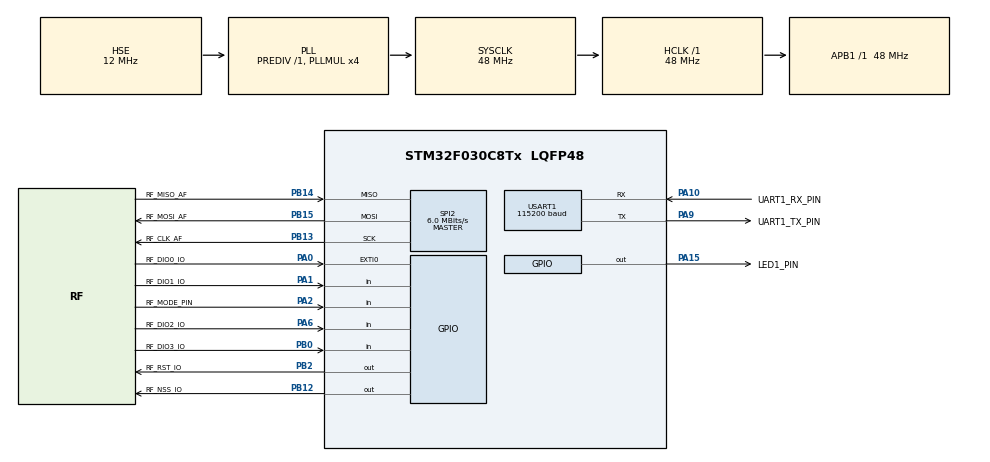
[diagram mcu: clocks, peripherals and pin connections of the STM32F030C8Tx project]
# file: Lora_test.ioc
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Mcu.Family=STM32F0
Mcu.Name=STM32F030C8Tx
Mcu.Package=LQFP48
NVIC.EXTI0_1_IRQn=true\:0\:0\:false\:true\:true\:1\:true\:true\:true
PA0.GPIO_Label=RF_DIO0_IO
PA0.GPIO_ModeDefaultEXTI=GPIO_MODE_IT_RISING
PA0.GPIO_PuPd=GPIO_PULLUP
PA0.Signal=GPXTI0
PA1.GPIO_Label=RF_DIO1_IO
PA1.GPIO_PuPd=GPIO_PULLUP
PA1.Signal=GPIO_Input
PA10.GPIO_Label=UART1_RX_PIN
PA10.GPIO_PuPd=GPIO_PULLUP
PA10.GPIO_Speed=GPIO_SPEED_FREQ_MEDIUM
PA10.Mode=Asynchronous
PA10.Signal=USART1_RX
PA13.GPIO_Label=SWDIO_PIN
PA13.Mode=Serial_Wire
PA13.Signal=SYS_SWDIO
PA14.Mode=Serial_Wire
PA14.Signal=SYS_SWCLK
PA15.GPIO_Label=LED1_PIN
PA15.GPIO_PuPd=GPIO_PULLUP
PA15.GPIO_Speed=GPIO_SPEED_FREQ_MEDIUM
PA15.PinState=GPIO_PIN_SET
PA15.Signal=GPIO_Output
PA2.GPIO_Label=RF_MODE_PIN
PA2.GPIO_PuPd=GPIO_PULLDOWN
PA2.Signal=GPIO_Input
PA6.GPIO_Label=RF_DIO2_IO
PA6.GPIO_PuPd=GPIO_PULLUP
PA6.Signal=GPIO_Input
PA9.GPIO_Label=UART1_TX_PIN
PA9.GPIO_PuPd=GPIO_NOPULL
PA9.GPIO_Speed=GPIO_SPEED_FREQ_MEDIUM
PA9.Mode=Asynchronous
PA9.Signal=USART1_TX
PB0.GPIO_Label=RF_DIO3_IO
PB0.GPIO_PuPd=GPIO_PULLUP
PB0.Signal=GPIO_Input
PB12.GPIO_Label=RF_NSS_IO
PB12.GPIO_ModeDefaultOutputPP=GPIO_MODE_OUTPUT_PP
PB12.GPIO_PuPd=GPIO_PULLUP
PB12.GPIO_Speed=GPIO_SPEED_FREQ_HIGH
PB12.PinState=GPIO_PIN_SET
PB12.Signal=GPIO_Output
PB13.GPIO_Label=RF_CLK_AF
PB13.GPIO_PuPd=GPIO_PULLUP
PB13.Mode=Full_Duplex_Master
PB13.Signal=SPI2_SCK
PB14.GPIO_Label=RF_MISO_AF
PB14.GPIO_PuPd=GPIO_PULLUP
PB14.Mode=Full_Duplex_Master
PB14.Signal=SPI2_MISO
PB15.GPIO_Label=RF_MOSI_AF
PB15.GPIO_PuPd=GPIO_PULLUP
PB15.Mode=Full_Duplex_Master
PB15.Signal=SPI2_MOSI
PB2.GPIO_Label=RF_RST_IO
PB2.GPIO_ModeDefaultOutputPP=GPIO_MODE_OUTPUT_PP
PB2.GPIO_PuPd=GPIO_PULLUP
PB2.GPIO_Speed=GPIO_SPEED_FREQ_MEDIUM
PB2.PinState=GPIO_PIN_SET
PB2.Signal=GPIO_Output
PF0-OSC_IN.Mode=HSE-External-Oscillator
PF0-OSC_IN.Signal=RCC_OSC_IN
PF1-OSC_OUT.Mode=HSE-External-Oscillator
PF1-OSC_OUT.Signal=RCC_OSC_OUT
ProjectManager.HeapSize=0x200
ProjectManager.StackSize=0x400
ProjectManager.TargetToolchain=CMake
RCC.AHBFreq_Value=48000000
RCC.APB1Freq_Value=48000000
RCC.APB1TimFreq_Value=48000000
RCC.HCLKFreq_Value=48000000
RCC.HSE_VALUE=12000000
RCC.PLLMUL=RCC_PLL_MUL4
RCC.PLLSourceVirtual=RCC_PLLSOURCE_HSE
RCC.SYSCLKFreq_VALUE=48000000
RCC.SYSCLKSource=RCC_SYSCLKSOURCE_PLLCLK
RCC.TimSys_Div=SYSTICK_CLKSOURCE_HCLK_DIV8
SPI2.BaudRatePrescaler=SPI_BAUDRATEPRESCALER_8
SPI2.CRCCalculation=SPI_CRCCALCULATION_ENABLE
SPI2.CalculateBaudRate=6.0 MBits/s
SPI2.DataSize=SPI_DATASIZE_8BIT
SPI2.Direction=SPI_DIRECTION_2LINES
SPI2.Mode=SPI_MODE_MASTER
SPI2.VirtualType=VM_MASTER
USART1.BaudRate=115200
USART1.VirtualMode-Asynchronous=VM_ASYNC
board=custom

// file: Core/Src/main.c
/* USER CODE BEGIN Header */
/**
 ******************************************************************************
 * @file           : main.c
 * @brief          : Main program body
 ******************************************************************************
 * @attention
 *
 * Copyright (c) 2025 STMicroelectronics.
 * All rights reserved.
 *
 * This software is licensed under terms that can be found in the LICENSE file
 * in the root directory of this software component.
 * If no LICENSE file comes with this software, it is provided AS-IS.
 *
 ******************************************************************************
 */
/* USER CODE END Header */
#include "main.h"
#include "dma.h"
#include "spi.h"
#include "usart.h"
#include "gpio.h"

/* USER CODE BEGIN Includes */
#include "Sx1276-1278.h"
#include "delay.h"
#include "user.h"

#include "sx1276-LoRa.h"

#include "uart_dma_queue.h" // 添加UART DMA队列头文件
/* USER CODE END Includes */

/* USER CODE BEGIN PV */
/**************************************************************************************************************************************
Demo 程序流程  EnableMaster=true  为主机端，主机端发�?�一�??"PING"数据后切换到接收，等待从机返回的应答"PONG"数据LED闪烁

               EnableMaster=false 为从机端，从机端接收到主机端发过来的"PING"数据后LED闪烁并发送一�??"PONG"数据作为应答
***************************************************************************************************************************************/

// 提示: FSK与LORA模式切换只需要�?�过radio.h 文件中的宏定义修�??   #define LORA       1// [0: OFF, 1: ON] 1：LORA模式 0:FSK模式

// #define EnableMaster GPIO_ReadInputDataBit(RF_MODE_PORT, RF_MODE_PIN) // 主从选择�??
#define EnableMaster HAL_GPIO_ReadPin(RF_MODE_PIN_GPIO_Port, RF_MODE_PIN_Pin) // 读取主从选择脚状�??

tRadioDriver *Radio = 0;
const uint8_t PingMsg[] = "PING123456"; // 主机端发送的PING数据包内容
const uint8_t PongMsg[] = "PONG123456"; // 从机端发送的PONG数据包内容
uint16_t num_rx = 0;
uint8_t RXBuffer[RF_BUFFER_SIZE]; // RX buffer
uint8_t TXBuffer[RF_BUFFER_SIZE]; // TX buffer
uint16_t crc_value;

uint16_t masterSendTime = 2;  // 主机端发送数据包的次数
uint16_t masterSendCount = 0; // 从机端发送数据包的计数

uint8_t temParameter = 0x00; // 用于暂存带修改的参数

static uint8_t last_rx_data[3][256];  // 存储最近3次接收的数据
static uint16_t last_rx_len[3] = {0}; // 存储最近3次接收数据的长度
static uint8_t rx_count = 0;          // 接收计数器

extern tLoRaSettings LoRaSettings; // 声明为外部变量
/* USER CODE END PV */

void SystemClock_Config(void);
static void MX_NVIC_Init(void);
/* USER CODE BEGIN PFP */
// 检查连续3次接收数据是否都不同的函数
static bool check_three_different_rx(uint8_t *current_data, uint16_t current_len)
{
  if (rx_count < 3)
  {
    return false; // 还没有收到3次数据
  }

  // 检查当前数据与前3次数据是否都不同
  for (int i = 0; i < 3; i++)
  {
    if (current_len == last_rx_len[i] &&
        memcmp(current_data, last_rx_data[i], current_len) == 0)
    {
      return false; // 发现相同数据
    }
  }
  return true; // 都不同
}

// 更新接收数据历史记录
static void update_rx_history(uint8_t *data, uint16_t len)
{
  static uint8_t history_index = 0;

  // 复制数据到历史记录
  memcpy(last_rx_data[history_index], data, len);
  last_rx_len[history_index] = len;

  // 更新索引（循环使用）
  history_index = (history_index + 1) % 3;

  // 增加计数（最大为3）
  if (rx_count < 3)
  {
    rx_count++;
  }
}
/* USER CODE END PFP */

/* USER CODE BEGIN 0 */
void LedToggle(void)
{
  // GPIO_WriteBit(LED1_PORT, LED1_PIN, Bit_RESET); // LED闪烁
  HAL_GPIO_WritePin(LED1_PIN_GPIO_Port, LED1_PIN_Pin, GPIO_PIN_RESET);
  // HAL_Delay_nMs(1000);
  HAL_Delay_nMs(10);
  // GPIO_WriteBit(LED1_PORT, LED1_PIN, Bit_SET);
  HAL_GPIO_WritePin(LED1_PIN_GPIO_Port, LED1_PIN_Pin, GPIO_PIN_SET);
}

/*
 * Manages the master operation
 */
void OnMaster(void)
{
  switch (Radio->Process())
  {
  case RF_TX_DONE:

    Radio->StartRx();
    break;

  case RF_RX_DONE:
    Radio->GetRxPacket(RXBuffer, (uint16_t *)&num_rx);

    if (num_rx > 0)
    {
      // HAL_UART_Transmit(&huart1, RXBuffer, num_rx, HAL_MAX_DELAY);
      HAL_UART_Transmit_DMA(&huart1, RXBuffer, num_rx); // 使用DMA发送数据包
      // crc_value = RXBuffer[num_rx - 2];
      // crc_value <<= 8;
      // crc_value |= RXBuffer[num_rx - 1];
      // if (crc_value == RadioComputeCRC(RXBuffer, num_rx - 2, CRC_TYPE_IBM)) // CRC check
      // {
      // if (strncmp((const char *)RXBuffer, (const char *)PongMsg, strlen((const char *)PongMsg)) == 0)
      // {
      LedToggle(); // LED闪烁

      // Send the next PING frame
      strncpy((char *)TXBuffer, PingMsg, sizeof(TXBuffer));

      // crc_value = RadioComputeCRC(TXBuffer, 4, CRC_TYPE_IBM); // 计算得出要发送数据包CRC值
      // TXBuffer[4] = crc_value >> 8;
      // TXBuffer[5] = crc_value;

      // if ((masterSendCount < masterSendTime))
      // {
      /* code */
      Radio->SetTxPacket(TXBuffer, strlen((const char *)TXBuffer)); // 使用字符串长度作为数据包长度
      //   masterSendCount++;
      // }

      // }
      // }
    }
    break;

  case RF_RX_TIMEOUT:
    // Send the next PING frame
    strncpy((char *)TXBuffer, PingMsg, sizeof(TXBuffer)); // 确保TXBuffer正确初始化

    // crc_value = RadioComputeCRC(TXBuffer, 4, CRC_TYPE_IBM); // 计算得出要发送数据包CRC值
    // TXBuffer[4] = crc_value >> 8;
    // TXBuffer[5] = crc_value;

    // if ((masterSendCount < masterSendTime))
    // {
    /* code */
    Radio->SetTxPacket(TXBuffer, strlen((const char *)TXBuffer));
    //   masterSendCount++;
    // }
    break;

  default:
    break;
  }
}

/*
 * Manages the slave operation
 */
void OnSlave(void)
{
  switch (Radio->Process())
  {
  case RF_IDLE:
    // 进入载波侦听模式
    HAL_UART_Transmit_DMA(&huart1, (uint8_t *)"\r\nRF_IDLE\r\n", 12); // 调试输出
    Radio->EnterCadMode();                                            // 进入载波侦听模式
    break;
  case RF_BUSY:

    break;

  case RF_CHANNEL_ACTIVITY_DETECTED:
    HAL_UART_Transmit_DMA(&huart1, (uint8_t *)"\r\nRF_CHANNEL_ACTIVITY_DETECTED\r\n", 34); // 调试输出
    // 进入接收模式
    Radio->StartRx();
    break;
  case RF_CHANNEL_EMPTY:
    HAL_UART_Transmit_DMA(&huart1, (uint8_t *)"\r\nRF_CHANNEL_EMPTY\r\n", 22); // 调试输出
    // LoRaSettings.SyncWordValue++;         // 增加同步字参数
    // Radio->parameterChange(temParameter); // 重新设置同步字
    Radio->EnterCadMode(); // 进入载波侦听模式
    break;

  case RF_RX_DONE:

    Radio->GetRxPacket(RXBuffer, (uint16_t *)&num_rx);

    if (num_rx > 0)
    {

      // 检查是否连续3次接收到不同数据
      // if (check_three_different_rx(RXBuffer, num_rx))
      // {

      //   LoRaSettings.SyncWordValue++; // 增加同步字参数
      //   Radio->parameterChange(0x10); // 重新设置同步字
      // }

      // 更新接收历史记录
      // update_rx_history(RXBuffer, num_rx);

      // HAL_UART_Transmit(&huart1, RXBuffer, num_rx, HAL_MAX_DELAY);
      // HAL_UART_Transmit_DMA(&huart1, RXBuffer, num_rx);                 // 使用DMA发送数据包
      // 在RXBuffer末尾添加换行符和字符串结束符
      RXBuffer[num_rx] = '\n';     // 添加换行符
      RXBuffer[num_rx + 1] = '\0'; // 添加字符串结束符，确保安全
      UART_TxQueue_Enqueue(RXBuffer, num_rx + 1);
      // HAL_UART_Transmit_DMA(&huart1, (uint8_t *)"RECIVED INF\r\n", 14); // 调试输出
      UART_TxQueue_Enqueue((uint8_t *)"RECIVED INF\r", 13); // 将调试信息放入队列中
      // crc_value = RXBuffer[num_rx - 2];
      // crc_value <<= 8;
      // crc_value |= RXBuffer[num_rx - 1];
      // if (crc_value == RadioComputeCRC(RXBuffer, num_rx - 2, CRC_TYPE_IBM)) // CRC check
      // {
      // if (strncmp((const char *)RXBuffer, (const char *)PingMsg, strlen((const char *)PingMsg)) == 0)
      // {
      LedToggle(); // LED闪烁

      // Ack with PONG frame
      // strncpy((char *)TXBuffer, PongMsg, sizeof(TXBuffer));

      // crc_value = RadioComputeCRC(TXBuffer, 4, CRC_TYPE_IBM); // 计算得出要发送数据包CRC值
      // TXBuffer[4] = crc_value >> 8;
      // TXBuffer[5] = crc_value;

      // Radio->SetTxPacket(TXBuffer, strlen((const char *)TXBuffer));
      // }
      // }
    }
    else
    {
      // No data received,changed syncWord start RX again
      // if (temParameter == 0xff)
      // {
      //   temParameter = 0x00; // 设置一个新的同步字
      // }
      // else
      // {
      //   temParameter++; // 恢复为默认同步字
      // }
      // Radio->parameterChange(temParameter); // 重新设置同步字
      // Radio->EnterCadMode(); // 进入载波侦听模式
    }
    // HAL_UART_Transmit_DMA(&huart1, (uint8_t *)"RF_RX_DONE\r", 13); // 调试输出
    UART_TxQueue_Enqueue((uint8_t *)"RF_RX_DONE\r", 12); // 将调试信息放入队列中
    break;

  case RF_RX_TIMEOUT:
    // HAL_UART_Transmit_DMA(&huart1, (uint8_t *)"RF_RX_TIMEOUT\r", 16); // 调试输出
    UART_TxQueue_Enqueue((uint8_t *)"RF_RX_TIMEOUT\r", 15); // 将调试信息放入队列中
    // 重新进入接收模式
    Radio->StartRx();
    // 改变同步字
    // LoRaSettings.SyncWordValue++;         // 增加同步字参数
    // Radio->parameterChange(temParameter); // 重新设置同步字
    // Radio->EnterCadMode(); // 进入载波侦听模式

    break;

  default:
    break;
  }
}
/* USER CODE END 0 */

int main(void)
{

  /* MCU Configuration--------------------------------------------------------*/

  /* Reset of all peripherals, Initializes the Flash interface and the Systick. */
  HAL_Init();

  /* Configure the system clock */
  SystemClock_Config();

  /* Initialize all configured peripherals */
  MX_GPIO_Init();
  MX_DMA_Init();
  MX_USART1_UART_Init();
  if (UART_TxQueue_Init() != 0)
  {
    // 处理初始化失败
    while (1)
      ;
  }
  MX_SPI2_Init();
  MX_NVIC_Init(); // NVIC配置

  /* USER CODE BEGIN 2 */
  Radio = RadioDriverInit();
  if (Radio != NULL)
  {
    Radio->Init();
    // RFLRState = RFLR_STATE_IDLE; // LoRa状态机初始化为IDLE状态
  }
  else
  {
    // Handle null pointer error, e.g., log or halt execution
    // printf("Radio driver initialization failed!\n");
    while (1)
      ; // Infinite loop to indicate error
  }

  if (EnableMaster)
  {
    // Correctly initialize the TXBuffer with "PING_TEST1"
    strncpy((char *)TXBuffer, "PING123456", sizeof(TXBuffer)); // TXBuffer初始化

    Radio->SetTxPacket(TXBuffer, strlen((const char *)TXBuffer)); // 使用字符串长度作为数据包长度
    // masterSendCount++;
  }
  else
  {
    Radio->EnterCadMode(); // 进入载波侦听模式

    // Radio->StartRx();
  }
  /* USER CODE END 2 */

  /* Infinite loop */
  /* USER CODE BEGIN WHILE */
  while (1)
  {

    if (EnableMaster)
    {
      // HAL_UART_Transmit_DMA(&huart1, (uint8_t *)"Enter Master Mode\r\n", 20); // 主机端模式提示
      OnMaster();
    }
    else
    {

      OnSlave();
    }
    /* USER CODE END WHILE */

  }
}

void SystemClock_Config(void)
{
  RCC_OscInitTypeDef RCC_OscInitStruct = {0};
  RCC_ClkInitTypeDef RCC_ClkInitStruct = {0};
  RCC_PeriphCLKInitTypeDef PeriphClkInit = {0};

  /** Initializes the RCC Oscillators according to the specified parameters
   * in the RCC_OscInitTypeDef structure.
   */
  RCC_OscInitStruct.OscillatorType = RCC_OSCILLATORTYPE_HSE;
  RCC_OscInitStruct.HSEState = RCC_HSE_ON;
  RCC_OscInitStruct.PLL.PLLState = RCC_PLL_ON;
  RCC_OscInitStruct.PLL.PLLSource = RCC_PLLSOURCE_HSE;
  RCC_OscInitStruct.PLL.PLLMUL = RCC_PLL_MUL4;
  RCC_OscInitStruct.PLL.PREDIV = RCC_PREDIV_DIV1;
  if (HAL_RCC_OscConfig(&RCC_OscInitStruct) != HAL_OK)
  {
    Error_Handler();
  }

  /** Initializes the CPU, AHB and APB buses clocks
   */
  RCC_ClkInitStruct.ClockType = RCC_CLOCKTYPE_HCLK | RCC_CLOCKTYPE_SYSCLK | RCC_CLOCKTYPE_PCLK1;
  RCC_ClkInitStruct.SYSCLKSource = RCC_SYSCLKSOURCE_PLLCLK;
  RCC_ClkInitStruct.AHBCLKDivider = RCC_SYSCLK_DIV1;
  RCC_ClkInitStruct.APB1CLKDivider = RCC_HCLK_DIV1;

  if (HAL_RCC_ClockConfig(&RCC_ClkInitStruct, FLASH_LATENCY_1) != HAL_OK)
  {
    Error_Handler();
  }
  PeriphClkInit.PeriphClockSelection = RCC_PERIPHCLK_USART1;
  PeriphClkInit.Usart1ClockSelection = RCC_USART1CLKSOURCE_PCLK1;
  if (HAL_RCCEx_PeriphCLKConfig(&PeriphClkInit) != HAL_OK)
  {
    Error_Handler();
  }

  /** Configure the Systick
   */
  HAL_SYSTICK_Config(6000);                                 //
  HAL_SYSTICK_CLKSourceConfig(SYSTICK_CLKSOURCE_HCLK_DIV8); // Systick时钟源为HCLK/8
}

/* USER CODE BEGIN 4 */
/**
 * @brief NVIC Configuration.
 * @retval None
 */
static void MX_NVIC_Init(void)
{
  /* EXTI0_1_IRQn interrupt configuration */
  HAL_NVIC_SetPriority(EXTI0_1_IRQn, 0, 0);
  HAL_NVIC_EnableIRQ(EXTI0_1_IRQn);
}
/* USER CODE END 4 */

void Error_Handler(void)
{
  __disable_irq();
  while (1)
  {
  }
}
